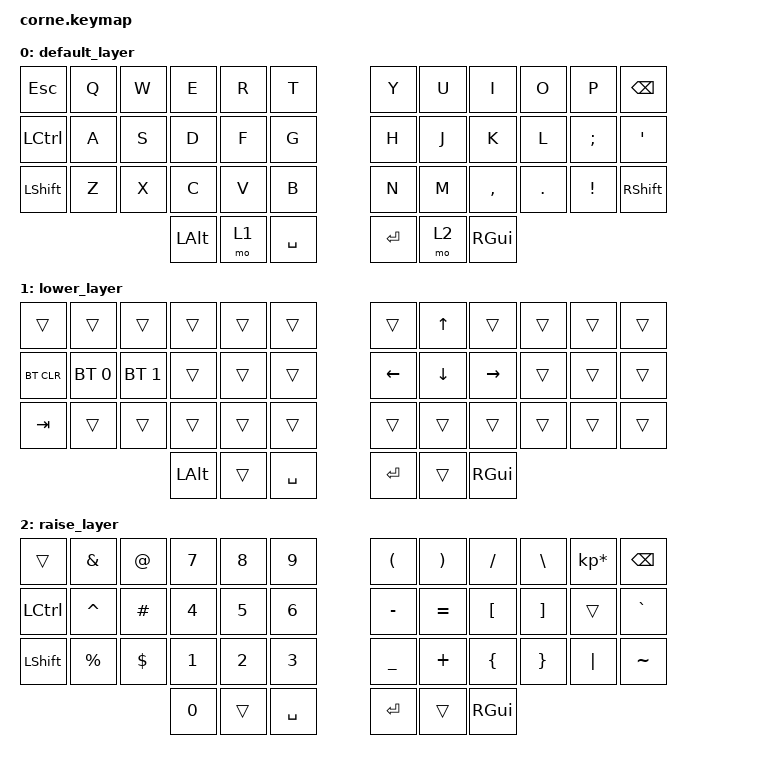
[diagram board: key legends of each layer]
/*
 * Copyright (c) 2020 The ZMK Contributors
 *
 * SPDX-License-Identifier: MIT
 */

#include <behaviors.dtsi>
#include <dt-bindings/zmk/keys.h>
#include <dt-bindings/zmk/bt.h>

/ {
        keymap {
                compatible = "zmk,keymap";

                default_layer {
// -----------------------------------------------------------------------------------------
// |  ESC |  Q  |  W  |  E  |  R  |  T  |   |  Y  |  U   |  I  |  O  |  P  | BKSP |
// | CTRL |  A  |  S  |  D  |  F  |  G  |   |  H  |  J   |  K  |  L  |  ;  |  '   |
// | SHFT |  Z  |  X  |  C  |  V  |  B  |   |  N  |  M   |  ,  |  .  |  !  | SHFT  |
//                    | ALT | LWR | SPC |   | ENT | RSE  | GUI |
                        bindings = <
   &kp ESC    &kp Q  &kp W  &kp E  &kp R  &kp T        &kp Y  &kp U  &kp I      &kp O    &kp P     &kp BSPC
   &kp LCTRL  &kp A  &kp S  &kp D  &kp F  &kp G        &kp H  &kp J  &kp K      &kp L    &kp SEMI  &kp SQT
   &kp LSHFT  &kp Z  &kp X  &kp C  &kp V  &kp B        &kp N  &kp M  &kp COMMA  &kp DOT  &kp EXCL  &kp RSHFT
                     &kp LALT  &mo 1  &kp SPACE        &kp RET  &mo 2  &kp RGUI
                        >;
                };
                lower_layer {
// -----------------------------------------------------------------------------------------
// |      |     |     |     |     |     |   |     |  UP |     |     |     |      |
// | BTCLR| BT1 | BT2 |     |     |     |   | LFT | DWN | RGT |     |     |      |
// | TAB  |     |     |     |     |     |   |     |     |     |     |     |      |
//                    | ALT |     | SPC |   | ENT |     | GUI |
// -----------------------------------------------------------------------------------------
                        bindings = <
   &trans      &trans        &trans       &trans  &trans  &trans       &trans    &kp UP    &trans     &trans  &trans  &trans
   &bt BT_CLR  &bt BT_SEL 0  &bt BT_SEL 1 &trans  &trans  &trans       &kp LEFT  &kp DOWN  &kp RIGHT  &trans  &trans  &trans
   &kp TAB     &trans        &trans       &trans  &trans  &trans       &trans    &trans    &trans     &trans  &trans  &trans
                                    &kp LALT  &trans   &kp SPACE       &kp RET  &trans  &kp RGUI
                        >;
                };

                raise_layer {
// -----------------------------------------------------------------------------------------
// |      |  &  |  @  |  7  |  8  |  9  |   |  (  |  )  |  /  |  \  |  *  | BKSP |
// | CTRL |  ^  |  #  |  4  |  5  |  6  |   |  -  |  =  |  [  |  ]  |     |  `   |
// | SHFT |  %  |  $  |  1  |  2  |  3  |   |  _  |  +  |  {  |  }  | "|" |  ~   |
//                    |  0  |     | SPC |   | ENT |     | GUI |
                        bindings = <
     
   &trans     &kp AMPS   &kp AT    &kp N7  &kp N8  &kp N9        &kp LPAR   &kp RPAR   &kp FSLH  &kp BSLH  &kp KP_MULTIPLY  &kp BSPC
   &kp LCTRL  &kp CARET  &kp HASH  &kp N4  &kp N5  &kp N6        &kp MINUS  &kp EQUAL  &kp LBKT  &kp RBKT  &trans           &kp GRAVE
   &kp LSHFT  &kp PRCNT  &kp DLLR  &kp N1  &kp N2  &kp N3        &kp UNDER  &kp PLUS   &kp LBRC  &kp RBRC  &kp PIPE         &kp TILDE
                                &kp N0  &trans  &kp SPACE        &kp RET  &trans  &kp RGUI
                        >;
                };
        };
};
